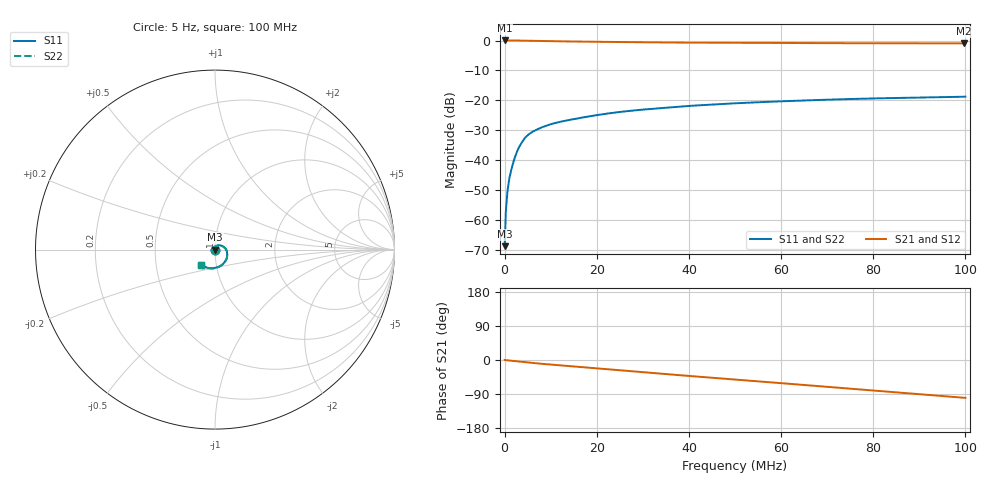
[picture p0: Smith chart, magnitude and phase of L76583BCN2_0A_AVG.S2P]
!Agilent Technologies,E5061B,MY49102235,A.02.00
!Date: Mon Jul 10 16:59:11 2023
!Data & Calibration Information:
!Freq	S11:SOLT2(ON)	S21:SOLT2(ON)	S12:SOLT2(ON)	S22:SOLT2(ON)
# Hz S RI R 50
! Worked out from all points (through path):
!   1600 points, 5 Hz to 100 MHz, reference 50 ohm
!   highest |S21| = 0.02 dB at 5 Hz (marker M1); lowest = -1.0 dB at 99.62 MHz (marker M2)
!   group delay of S21, straight-line fit = 2.71 ns
!   lowest |S11| = -68.9 dB at 62.54 kHz (marker M3), VSWR 1.00, Z = 50 + j0.0354 ohm
!   |S11| at or under -10 dB: start of sweep to end of sweep
!   |S22| runs from -77.3 to -18.6 dB; largest |S21 - S12| = 0.0026
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5  -0.000478 0.000422  1.002 0.00228  1.001 -2.9e-05  -0.00012 -6.3e-05
62544.08  -6.22e-05 0.000354  1 -0.00142  1 -0.000978  4.14e-05 0.000269
375239.5  0.00017 0.00185  0.9999 -0.00845  1 -0.00849  0.000104 0.00181
562856.8  0.000291 0.00276  0.9996 -0.013  0.9996 -0.0126  0.000218 0.00271
625395.8  0.000287 0.00303  0.9997 -0.0144  0.9989 -0.0141  0.000313 0.00307
750474  0.00017 0.00352  0.9995 -0.0172  0.9994 -0.0161  0.000146 0.00355
1000630  0.00026 0.00478  0.9996 -0.0224  0.9993 -0.0225  0.000307 0.00469
1500943  0.00061 0.00706  0.9993 -0.0345  0.9985 -0.0342  0.000617 0.00709
2188873  0.00123 0.0107  0.9981 -0.0501  0.9981 -0.0503  0.00123 0.0107
2876803  0.00288 0.0145  0.9961 -0.067  0.9953 -0.0663  0.0029 0.0145
3752350  0.00606 0.0187  0.9918 -0.0866  0.9916 -0.0863  0.00612 0.0187
5253288  0.0139 0.023  0.9816 -0.1179  0.9817 -0.1176  0.0139 0.023
7942469  0.0251 0.0241  0.9649 -0.1673  0.9648 -0.1671  0.0251 0.0241
1.11945e7  0.0358 0.0219  0.9442 -0.223  0.9442 -0.2227  0.0358 0.0218
1.669794e7  0.0488 0.0147  0.9066 -0.312  0.9066 -0.3119  0.049 0.0145
2.439025e7  0.0627 -0.0014  0.8423 -0.4258  0.8424 -0.4256  0.0629 -0.00187
3.333334e7  0.0682 -0.0266  0.7558 -0.541  0.7559 -0.5408  0.0685 -0.0275
5.003127e7  0.0517 -0.0722  0.566 -0.7143  0.5663 -0.7144  0.0515 -0.0734
6.672921e7  0.00982 -0.0996  0.3448 -0.8336  0.3446 -0.8335  0.00962 -0.1011
8.33646e7  -0.0363 -0.1022  0.0995 -0.8931  0.0998 -0.8931  -0.037 -0.1037
9.962477e7  -0.0764 -0.0851  -0.1492 -0.883  -0.1497 -0.8832  -0.0778 -0.0871
1e8  -0.0773 -0.0846  -0.1549 -0.8821  -0.1553 -0.8821  -0.0787 -0.0865
